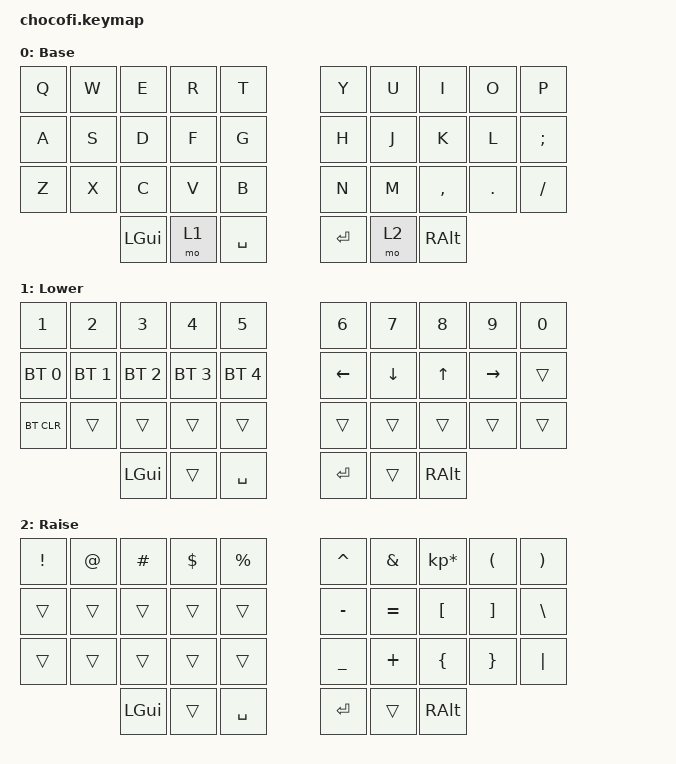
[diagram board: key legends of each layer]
/*
 * Copyright (c) 2020 The ZMK Contributors
 *
 * SPDX-License-Identifier: MIT
 */

#include <behaviors.dtsi>
#include <dt-bindings/zmk/bt.h>
#include <dt-bindings/zmk/keys.h>

/ {
    keymap {
        compatible = "zmk,keymap";

        default_layer {
            // -----------------------------------------------------------------------------------------
            // |  Q  |  W  |  E  |  R  |  T  |   |  Y  |  U   |  I  |  O  |  P  |
            // |  A  |  S  |  D  |  F  |  G  |   |  H  |  J   |  K  |  L  |  ;  |
            // |  Z  |  X  |  C  |  V  |  B  |   |  N  |  M   |  ,  |  .  |  /  |
            //             | GUI | LWR | SPC |   | ENT | RSE  | ALT |

            display-name = "Base";
            bindings = <
&kp Q  &kp W  &kp E     &kp R  &kp T        &kp Y    &kp U  &kp I      &kp O    &kp P     
&kp A  &kp S  &kp D     &kp F  &kp G        &kp H    &kp J  &kp K      &kp L    &kp SEMI  
&kp Z  &kp X  &kp C     &kp V  &kp B        &kp N    &kp M  &kp COMMA  &kp DOT  &kp FSLH  
                &kp LGUI  &mo 1  &kp SPACE    &kp RET  &mo 2  &kp RALT
            >;
        };

        lower_layer {
            display-name = "Lower";
            bindings = <
&kp N1        &kp N2        &kp N3        &kp N4        &kp N5          &kp N6    &kp N7    &kp N8    &kp N9     &kp N0  
&bt BT_SEL 0  &bt BT_SEL 1  &bt BT_SEL 2  &bt BT_SEL 3  &bt BT_SEL 4    &kp LEFT  &kp DOWN  &kp UP    &kp RIGHT  &trans  
&bt BT_CLR    &trans        &trans        &trans        &trans          &trans    &trans    &trans    &trans     &trans  
                            &kp LGUI      &trans        &kp SPACE       &kp RET   &trans    &kp RALT
            >;
        };

        raise_layer {
            display-name = "Raise";
            bindings = <
&kp EXCL  &kp AT  &kp HASH  &kp DLLR  &kp PRCNT    &kp CARET  &kp AMPS   &kp KP_MULTIPLY  &kp LPAR  &kp RPAR  
&trans    &trans  &trans    &trans    &trans       &kp MINUS  &kp EQUAL  &kp LBKT         &kp RBKT  &kp BSLH  
&trans    &trans  &trans    &trans    &trans       &kp UNDER  &kp PLUS   &kp LBRC         &kp RBRC  &kp PIPE  
                  &kp LGUI  &trans    &kp SPACE    &kp RET    &trans     &kp RALT
            >;
        };

        extra_1 { status = "reserved"; };
        extra_2 { status = "reserved"; };
        extra_3 { status = "reserved"; };
    };
};

